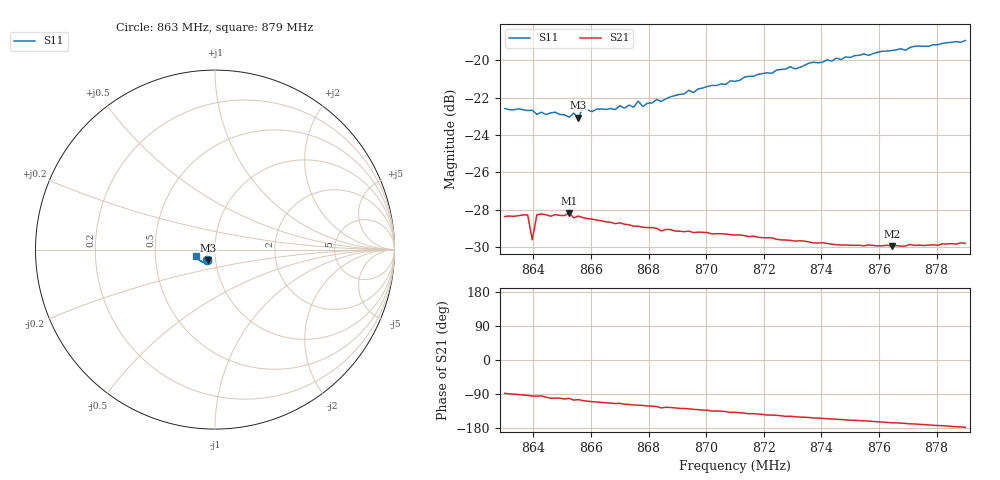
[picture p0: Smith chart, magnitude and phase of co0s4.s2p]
# HZ S RI R 50
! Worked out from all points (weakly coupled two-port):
!   101 points, 863 MHz to 879 MHz, reference 50 ohm
!   highest |S21| = -28.18 dB at 865.24 MHz (marker M1); lowest = -30.0 dB at 876.44 MHz (marker M2)
!   lowest |S11| = -23.1 dB at 865.56 MHz (marker M3), VSWR 1.15, Z = 46.2 - j5.58 ohm
!   |S11| at or under -10 dB: start of sweep to end of sweep
!   S12 and S22 are empty: the file has one direction only
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8.63e8  -0.044 -0.0598  0.00141 -0.0381  0 0  0 0
8.638e8  -0.0422 -0.06  -0.0023 -0.0385  0 0  0 0
8.6396e8  -0.0441 -0.0588  -0.00298 -0.0329  0 0  0 0
8.6412e8  -0.0409 -0.0589  -0.00355 -0.0384  0 0  0 0
8.6476e8  -0.0422 -0.0591  -0.00698 -0.038  0 0  0 0
8.6524e8  -0.0355 -0.0608  -0.00752 -0.0383  0 0  0 0
8.654e8  -0.0385 -0.061  -0.0103 -0.0364  0 0  0 0
8.6556e8  -0.0363 -0.0601  -0.00951 -0.0371  0 0  0 0
8.6572e8  -0.0407 -0.0625  -0.0113 -0.0362  0 0  0 0
8.6604e8  -0.0398 -0.0611  -0.0128 -0.0353  0 0  0 0
8.67e8  -0.0412 -0.0634  -0.0151 -0.0334  0 0  0 0
8.6748e8  -0.0392 -0.0638  -0.0173 -0.0315  0 0  0 0
8.6764e8  -0.0419 -0.0656  -0.0175 -0.0314  0 0  0 0
8.678e8  -0.04 -0.0637  -0.0178 -0.0309  0 0  0 0
8.6828e8  -0.0414 -0.0668  -0.0192 -0.0298  0 0  0 0
8.6844e8  -0.0414 -0.0656  -0.0208 -0.0281  0 0  0 0
8.694e8  -0.0458 -0.0694  -0.0219 -0.0271  0 0  0 0
8.6956e8  -0.0467 -0.0673  -0.0223 -0.0264  0 0  0 0
8.71e8  -0.0527 -0.0703  -0.0252 -0.0228  0 0  0 0
8.7372e8  -0.0703 -0.0695  -0.0288 -0.0148  0 0  0 0
8.7644e8  -0.0896 -0.0571  -0.0308 -0.00782  0 0  0 0
8.79e8  -0.1067 -0.0375  -0.0323 -0.00126  0 0  0 0
